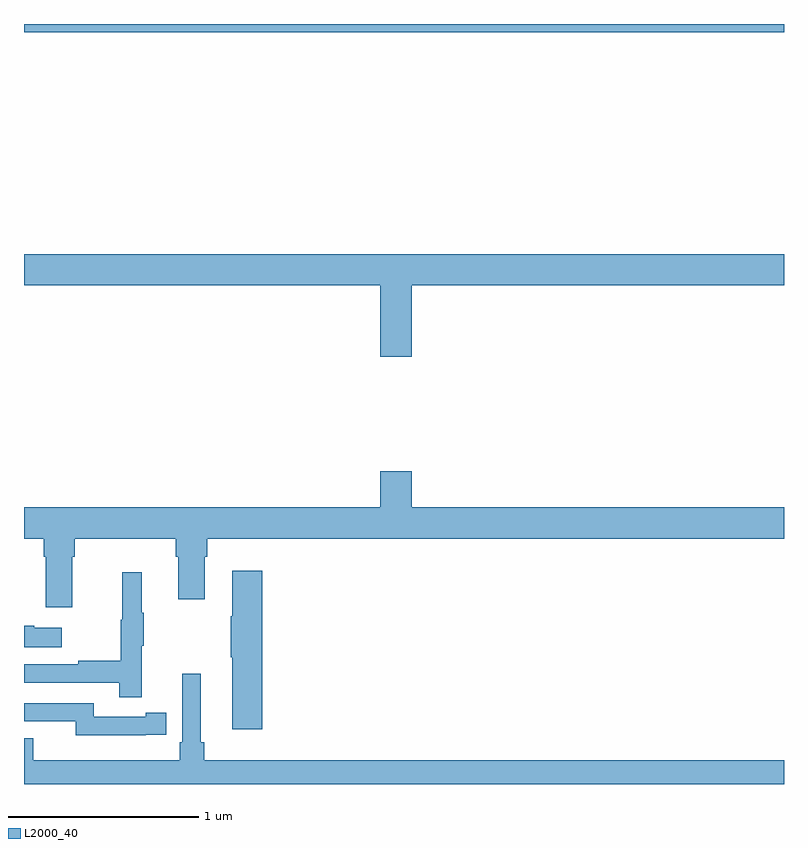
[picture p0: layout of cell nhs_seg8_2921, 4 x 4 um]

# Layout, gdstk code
import gdstk
lib = gdstk.Library(unit=1e-6, precision=1e-09)
def R(c, l, rs):  # rectangles x0, y0, x1, y1
    for r in rs: c.add(gdstk.rectangle(r[:2], r[2:], *l))
def P(c, l, *ps):  # polygons
    for p in ps: c.add(gdstk.Polygon(p, *l))
L2000_40 = (2000, 40)

nhs_seg8_2921 = lib.new_cell('nhs_seg8_2921')
R(nhs_seg8_2921, L2000_40, [(295,1093.856,299,1093.9)])
P(nhs_seg8_2921, L2000_40, [(295,1092.524),(296.876,1092.524),(296.876,1092.15),(297.04,1092.15),(297.04,1092.524),(299,1092.524),(299,1092.688),(295,1092.688)],
  [(295.255,1091.096),(295.268,1091.096),(295.268,1091.192),(295.799,1091.192),(295.799,1091.096),(295.811,1091.096),(295.811,1090.872),(295.951,1090.872),(295.951,1091.096),(295.964,1091.096),(295.964,1091.192),(299,1091.192),(299,1091.356),(297.04,1091.356),(297.04,1091.545),(296.876,1091.545),(296.876,1091.356),(295,1091.356),(295,1091.192),(295.103,1091.192),(295.103,1091.096),(295.115,1091.096),(295.115,1090.83),(295.255,1090.83)],
  [(296.255,1091.023),(296.096,1091.023),(296.096,1090.784),(296.089,1090.784),(296.089,1090.567),(296.096,1090.567),(296.096,1090.188),(296.255,1090.188)],
  [(295.619,1090.627),(295.63,1090.627),(295.63,1090.801),(295.619,1090.801),(295.619,1091.014),(295.516,1091.014),(295.516,1090.764),(295.509,1090.764),(295.509,1090.55),(295.285,1090.55),(295.285,1090.53),(295,1090.53),(295,1090.434),(295.501,1090.434),(295.501,1090.356),(295.619,1090.356)],
  [(295.198,1090.723),(295.055,1090.723),(295.055,1090.733),(295,1090.733),(295,1090.619),(295.198,1090.619)],
  [(299,1090.024),(295.949,1090.024),(295.949,1090.12),(295.93,1090.12),(295.93,1090.48),(295.833,1090.48),(295.833,1090.12),(295.82,1090.12),(295.82,1090.024),(295.048,1090.024),(295.048,1090.141),(295,1090.141),(295,1089.9),(299,1089.9)],
  [(295.64,1090.158),(295.748,1090.158),(295.748,1090.274),(295.64,1090.274),(295.64,1090.254),(295.368,1090.254),(295.368,1090.326),(295,1090.326),(295,1090.23),(295.272,1090.23),(295.272,1090.157),(295.64,1090.157)])

lib.write_gds('nhs_seg8_2921.gds')
